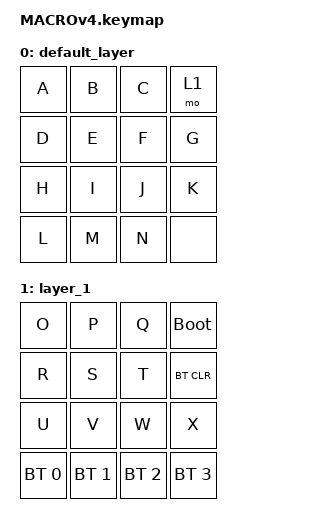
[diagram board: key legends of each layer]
#include <behaviors.dtsi>
#include <dt-bindings/zmk/keys.h>
#include <dt-bindings/zmk/bt.h>

/ {
    keymap {
        compatible = "zmk,keymap";

        sensor-bindings = <&inc_dec_kp C_VOL_UP C_VOL_DN>;

        default_layer {
            bindings = <
                &kp A &kp B &kp C &mo 1
                &kp D &kp E &kp F &kp G
                &kp H &kp I &kp J &kp K
                &kp L &kp M &kp N &none
            >;
        };

        layer_1 {
            bindings = <
                &kp O &kp P &kp Q &bootloader
                &kp R &kp S &kp T &bt BT_CLR
                &kp U &kp V &kp W &kp X
                &bt BT_SEL 0 &bt BT_SEL 1 &bt BT_SEL 2 &bt BT_SEL 3
            >;
        };
    };
};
